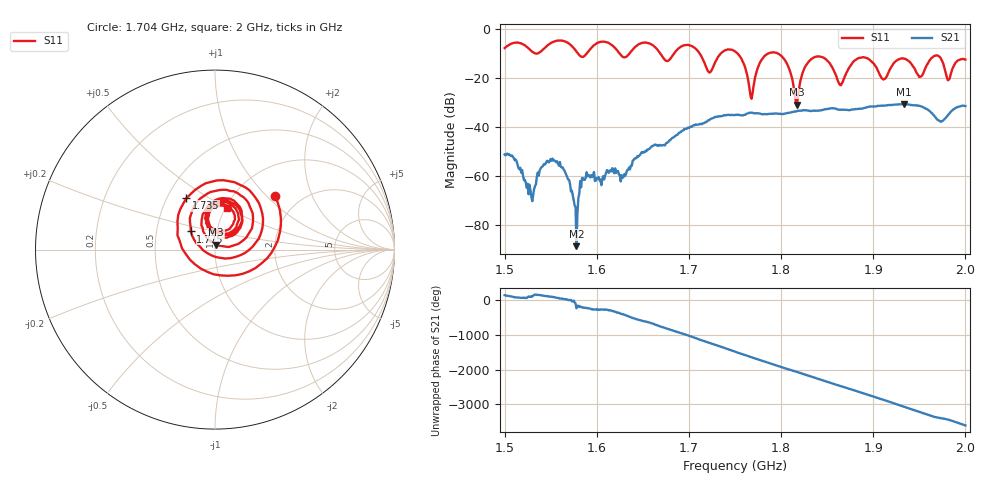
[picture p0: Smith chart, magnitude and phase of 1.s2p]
! NanoVNA-App by SYSJOINT et al v1.1.209 (+OD18)
! Date: 2026-01-21 14:50:03
! Start: 1,5GHz Stop: 2GHz Points: 501
! S-Parameter data: F S11 S21 S12 S22
# Hz S RI R 50
!  Frequency  S11_Real  S11_Imag  S21_Real  S21_Imag  S12_Real  S12_Imag  S22_Real  S22_Imag
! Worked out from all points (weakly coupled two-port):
!   501 points, 1.5 GHz to 2 GHz, reference 50 ohm
!   highest |S21| = -30.57 dB at 1.933 GHz (marker M1); lowest = -88.9 dB at 1.578 GHz (marker M2)
!   lowest |S11| = -30.9 dB at 1.817 GHz (marker M3), VSWR 1.06, Z = 50.5 + j2.83 ohm
!   |S11| at or under -10 dB: 1.712 GHz to 1.734 GHz (22.37 MHz wide, 1.3 % of centre); 1.753 GHz to 1.785 GHz (32.04 MHz wide, 1.81 % of centre); 1.797 GHz to end of sweep (the widest 3 of 6)
!   S12 and S22 are empty: the file has one direction only
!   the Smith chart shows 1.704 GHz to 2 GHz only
!   S11 on the Smith chart (normalised r, x): 1.704 GHz: 1.50, +1.13; 1.735 GHz: 0.63, +0.40; 1.775 GHz: 0.75, +0.16; 2 GHz: 1.02, +0.50
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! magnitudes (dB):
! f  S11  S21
! 1.5 GHz  -7.6  -51.3
! 1.53 GHz  -9.1  -70.4
! 1.558 GHz  -4.6  -54.9
! 1.578 GHz  -9.1  -88.9
! 1.584 GHz  -11.2  -60.9
! 1.667 GHz  -8.8  -47.6
! 1.704 GHz  -6.9  -39.5
! 1.722 GHz  -17.7  -37.2
! 1.735 GHz  -9.7  -35.5
! 1.75 GHz  -9.0  -35.1
! 1.767 GHz  -27.6  -34.1
! 1.775 GHz  -15.4  -34.4
! 1.799 GHz  -10.5  -34.6
! 1.817 GHz  -30.9  -33.5
! 1.834 GHz  -11.9  -33.4
! 1.864 GHz  -22.8  -32.9
! 1.886 GHz  -11.6  -32.5
! 1.917 GHz  -17.2  -31.0
! 1.933 GHz  -11.9  -30.6
! 1.97 GHz  -10.7  -37.0
! 1.982 GHz  -20.6  -34.7
! 2 GHz  -12.3  -31.4
